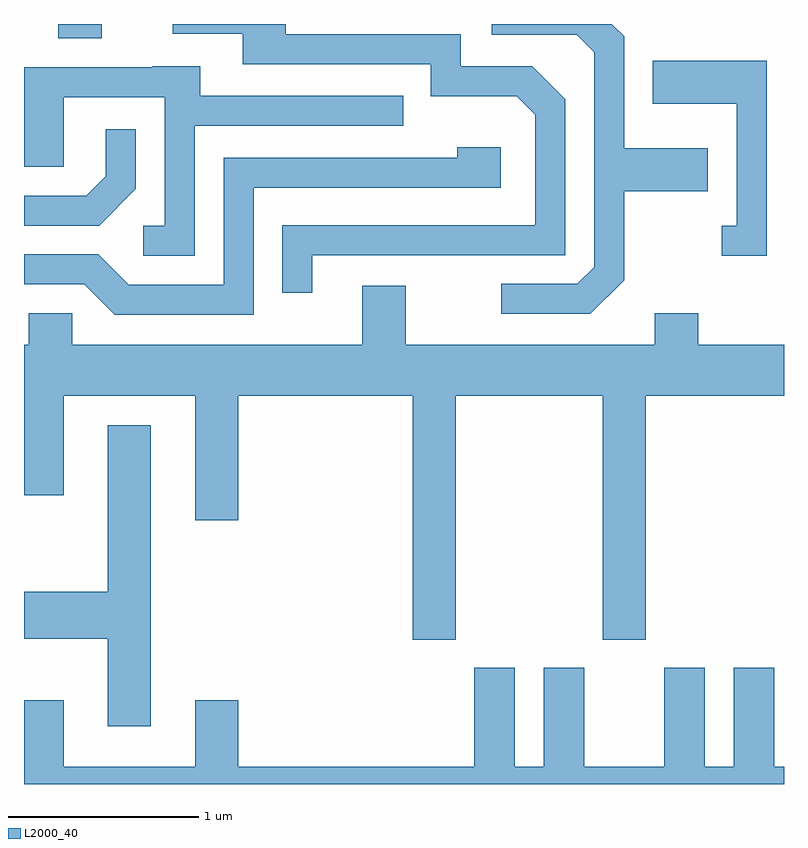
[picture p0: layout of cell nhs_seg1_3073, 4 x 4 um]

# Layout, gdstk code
import gdstk
lib = gdstk.Library(unit=1e-6, precision=1e-09)
def R(c, l, rs):  # rectangles x0, y0, x1, y1
    for r in rs: c.add(gdstk.rectangle(r[:2], r[2:], *l))
def P(c, l, *ps):  # polygons
    for p in ps: c.add(gdstk.Polygon(p, *l))
L2000_40 = (2000, 40)

nhs_seg1_3073 = lib.new_cell('nhs_seg1_3073')
R(nhs_seg1_3073, L2000_40, [(277.791,943.636,278.019,943.712)])
P(nhs_seg1_3073, L2000_40, [(280.769,942.364),(280.769,942.831),(281.209,942.831),(281.209,943.059),(280.769,943.059),(280.769,943.647),(280.704,943.712),(280.073,943.712),(280.073,943.656),(280.519,943.656),(280.611,943.564),(280.611,942.432),(280.524,942.344),(280.123,942.344),(280.123,942.186),(280.592,942.186)],
  [(279.129,942.496),(280.459,942.496),(280.459,943.317),(280.287,943.489),(279.909,943.489),(279.909,943.659),(278.989,943.659),(278.989,943.712),(278.393,943.712),(278.393,943.661),(278.761,943.661),(278.761,943.501),(279.751,943.501),(279.751,943.331),(280.204,943.331),(280.301,943.234),(280.301,942.654),(278.971,942.654),(278.971,942.298),(279.129,942.298)],
  [(281.519,943.519),(280.921,943.519),(280.921,943.291),(281.361,943.291),(281.361,942.649),(281.283,942.649),(281.283,942.491),(281.519,942.491)],
  [(278.509,943.176),(279.608,943.176),(279.608,943.334),(278.539,943.334),(278.539,943.489),(278.285,943.489),(278.285,943.484),(277.611,943.484),(277.611,942.961),(277.819,942.961),(277.819,943.326),(278.351,943.326),(278.351,942.649),(278.238,942.649),(278.238,942.491),(278.509,942.491)],
  [(278.199,942.844),(278.199,943.158),(278.041,943.158),(278.041,942.912),(277.939,942.809),(277.611,942.809),(277.611,942.651),(278.007,942.651)],
  [(278.819,942.851),(280.119,942.851),(280.119,943.064),(279.891,943.064),(279.891,943.009),(278.661,943.009),(278.661,942.339),(278.162,942.339),(278.002,942.499),(277.611,942.499),(277.611,942.341),(277.929,942.341),(278.089,942.181),(278.819,942.181)],
  [(279.884,941.756),(280.656,941.756),(280.656,940.471),(280.884,940.471),(280.884,941.756),(281.611,941.756),(281.611,942.024),(281.159,942.024),(281.159,942.189),(280.931,942.189),(280.931,942.024),(279.619,942.024),(279.619,942.334),(279.391,942.334),(279.391,942.024),(277.864,942.024),(277.864,942.189),(277.636,942.189),(277.636,942.024),(277.611,942.024),(277.611,941.231),(277.819,941.231),(277.819,941.756),(278.511,941.756),(278.511,941.101),(278.739,941.101),(278.739,941.756),(279.656,941.756),(279.656,940.471),(279.884,940.471)],
  [(278.279,941.599),(278.051,941.599),(278.051,940.724),(277.611,940.724),(277.611,940.476),(278.051,940.476),(278.051,940.016),(278.279,940.016)],
  [(278.511,940.154),(278.511,939.804),(277.819,939.804),(277.819,940.154),(277.611,940.154),(277.611,939.712),(281.611,939.712),(281.611,939.804),(281.559,939.804),(281.559,940.324),(281.346,940.324),(281.346,939.804),(281.194,939.804),(281.194,940.324),(280.981,940.324),(280.981,939.804),(280.559,939.804),(280.559,940.324),(280.346,940.324),(280.346,939.804),(280.194,939.804),(280.194,940.324),(279.981,940.324),(279.981,939.804),(278.739,939.804),(278.739,940.154)])

lib.write_gds('nhs_seg1_3073.gds')
